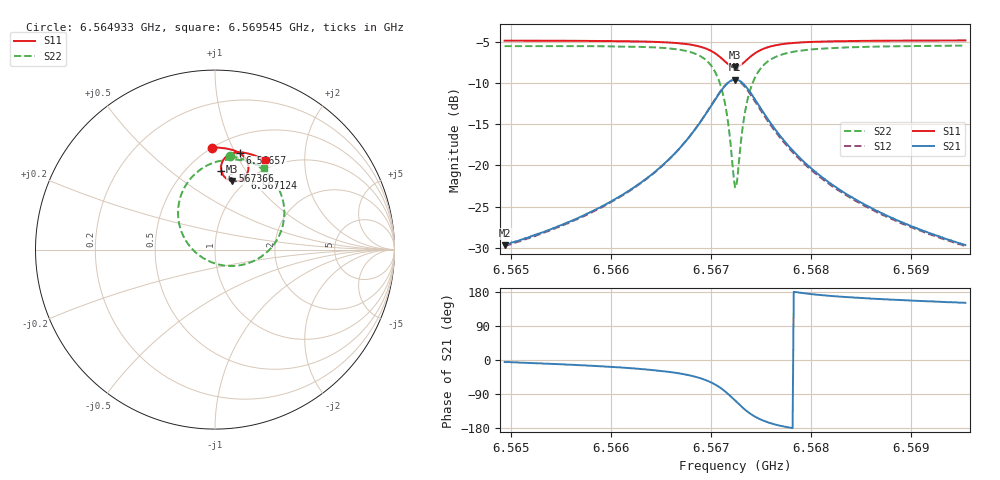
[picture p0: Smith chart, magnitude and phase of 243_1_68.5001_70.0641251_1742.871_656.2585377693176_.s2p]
#  HZ  S  RI  R  50.00
! Rohde & Schwarz Vector Network Analyzer
! Rohde-Schwarz,ZNB20-2Port,1311601062101988,3.16
! Created: UTC 3/20/2024, 5:14:38 PM
! freq[Hz]  re:S11  im:S11  re:S21  im:S21  re:S12  im:S12  re:S22  im:S22
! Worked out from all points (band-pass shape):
!   401 points, 6.564933 GHz to 6.569545 GHz, reference 50 ohm
!   highest |S21| = -9.60 dB at 6.567239 GHz (marker M1); lowest = -29.7 dB at 6.564933 GHz (marker M2)
!   |S21| within 3 dB of the highest: 6.56701 GHz to 6.567471 GHz (460.7 kHz wide, 0.00702 % of centre)
!   lowest |S11| = -8.1 dB at 6.567239 GHz (marker M3), VSWR 2.29, Z = 43.7 + j39.4 ohm
!   |S11| at or under -10 dB: nowhere
!   |S22| runs from -22.6 to -5.5 dB; largest |S21 - S12| = 0.017
!   S11 on the Smith chart (normalised r, x): 6.564933 GHz: 0.50, +0.84; 6.56657 GHz: 0.67, +1.04; 6.567124 GHz: 0.94, +0.93; 6.567366 GHz: 0.72, +0.78; 6.569545 GHz: 0.87, +1.29
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6.5649335e9  -0.0179 0.5688  0.0328 -0.00305  0.0323 -0.00346  0.0856 0.5203
6.5657059e9  0.0477 0.5654  0.0477 -0.012  0.0471 -0.0125  0.1659 0.5004
6.5661209e9  0.087 0.5582  0.0627 -0.0231  0.0618 -0.0238  0.2215 0.4756
6.5664783e9  0.1258 0.5438  0.0846 -0.0452  0.0834 -0.0463  0.2859 0.4298
6.5665705e9  0.1372 0.5376  0.0925 -0.0555  0.0911 -0.0568  0.3064 0.4095
6.5667895e9  0.1664 0.5125  0.1142 -0.0986  0.1124 -0.1007  0.3611 0.3254
6.5669509e9  0.1848 0.4743  0.1229 -0.166  0.1194 -0.1697  0.3862 0.1957
6.5670547e9  0.1829 0.4336  0.1012 -0.2373  0.0942 -0.2422  0.3483 0.0598
6.5671239e9  0.1642 0.4022  0.0541 -0.2905  0.0427 -0.2943  0.2593 -0.0384
6.56717e9  0.1403 0.3858  0.00193 -0.3167  -0.0124 -0.3173  0.1616 -0.0827
6.5672161e9  0.1092 0.3795  -0.0624 -0.3233  -0.078 -0.3188  0.0436 -0.0878
6.5672391e9  0.0927 0.3814  -0.0956 -0.3169  -0.111 -0.3096  -0.0154 -0.0721
6.5672622e9  0.0769 0.387  -0.1272 -0.3039  -0.141 -0.2941  -0.0697 -0.0449
6.5673198e9  0.0469 0.4127  -0.1874 -0.2511  -0.1957 -0.2369  -0.1674 0.0581
6.567366e9  0.0356 0.4387  -0.2115 -0.1997  -0.2151 -0.1853  -0.2014 0.1514
6.5674582e9  0.0387 0.484  -0.213 -0.1125  -0.2109 -0.1015  -0.1891 0.3036
6.5675965e9  0.0666 0.5213  -0.1754 -0.0407  -0.1714 -0.0347  -0.1091 0.4238
6.5677579e9  0.0989 0.5374  -0.1347 -0.00697  -0.1312 -0.00367  -0.0252 0.4775
6.5680116e9  0.1381 0.5421  -0.0944 0.0106  -0.0918 0.0121  0.0629 0.5003
6.5683574e9  0.1778 0.5372  -0.0649 0.0162  -0.0634 0.0169  0.1371 0.4996
6.568784e9  0.2172 0.5256  -0.0458 0.0172  -0.0448 0.0174  0.1974 0.4867
6.5695448e9  0.2763 0.4992  -0.0288 0.016  -0.0282 0.0162  0.2727 0.4559
